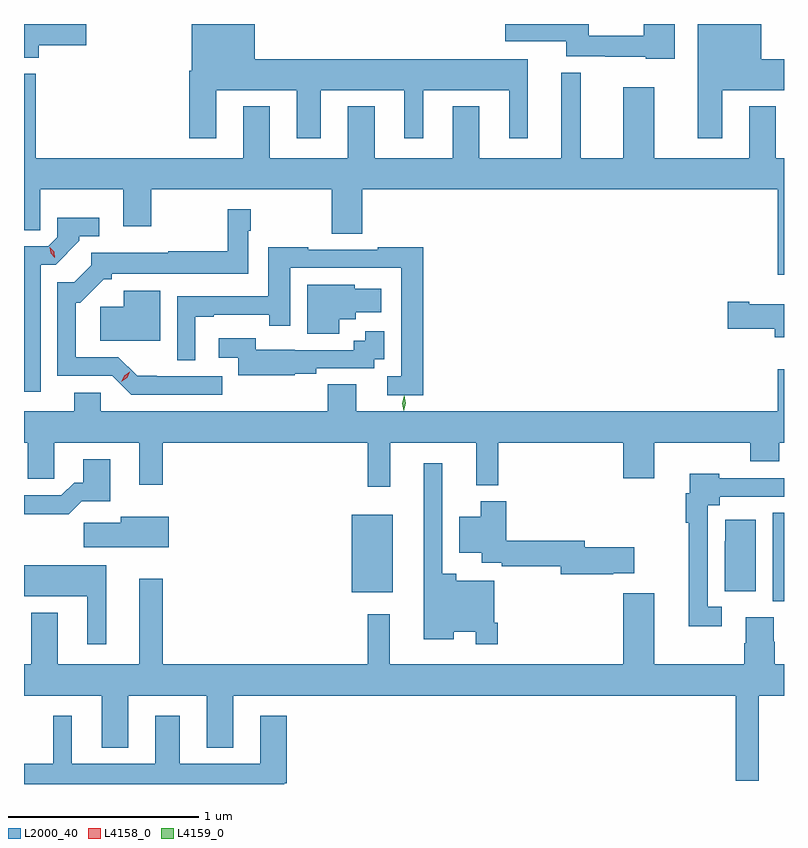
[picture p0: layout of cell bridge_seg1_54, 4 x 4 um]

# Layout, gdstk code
import gdstk
lib = gdstk.Library(unit=1e-6, precision=1e-09)
def R(c, l, rs):  # rectangles x0, y0, x1, y1
    for r in rs: c.add(gdstk.rectangle(r[:2], r[2:], *l))
def P(c, l, *ps):  # polygons
    for p in ps: c.add(gdstk.Polygon(p, *l))
L2000_40 = (2000, 40)
L4158_0 = (4158, 0)
L4159_0 = (4159, 0)

bridge_seg1_54 = lib.new_cell('bridge_seg1_54')
R(bridge_seg1_54, L2000_40, [(405.554,570.877,405.614,571.343), (403.34,570.923,403.555,571.333)])
P(bridge_seg1_54, L2000_40, [(401.692,573.803),(401.941,573.803),(401.941,573.915),(401.614,573.915),(401.614,573.737),(401.692,573.737)],
  [(405.04,573.915),(404.875,573.915),(404.875,573.853),(404.586,573.853),(404.586,573.915),(404.148,573.915),(404.148,573.824),(404.468,573.824),(404.468,573.744),(404.674,573.744),(404.674,573.743),(404.886,573.743),(404.886,573.731),(405.04,573.731)],
  [(405.289,573.566),(405.614,573.566),(405.614,573.73),(405.493,573.73),(405.493,573.915),(405.161,573.915),(405.161,573.315),(405.289,573.315)],
  [(402.625,573.566),(403.049,573.566),(403.049,573.315),(403.177,573.315),(403.177,573.566),(403.616,573.566),(403.616,573.315),(403.714,573.315),(403.714,573.566),(404.168,573.566),(404.168,573.315),(404.266,573.315),(404.266,573.73),(402.829,573.73),(402.829,573.915),(402.497,573.915),(402.497,573.67),(402.485,573.67),(402.485,573.315),(402.625,573.315)],
  [(403.319,573.481),(403.319,573.208),(402.907,573.208),(402.907,573.481),(402.767,573.481),(402.767,573.208),(401.677,573.208),(401.677,573.652),(401.614,573.652),(401.614,572.83),(401.7,572.83),(401.7,573.044),(402.137,573.044),(402.137,572.85),(402.285,572.85),(402.285,573.044),(403.234,573.044),(403.234,572.812),(403.394,572.812),(403.394,573.044),(405.582,573.044),(405.582,572.595),(405.614,572.595),(405.614,573.208),(405.571,573.208),(405.571,573.481),(405.431,573.481),(405.431,573.208),(404.932,573.208),(404.932,573.583),(404.768,573.583),(404.768,573.208),(404.545,573.208),(404.545,573.545),(404.543,573.545),(404.543,573.658),(404.441,573.658),(404.441,573.208),(404.011,573.208),(404.011,573.481),(403.871,573.481),(403.871,573.208),(403.459,573.208),(403.459,573.481)],
  [(402.657,572.061),(402.313,572.061),(402.313,572.063),(402.209,572.063),(402.111,572.16),(401.886,572.16),(401.886,572.448),(401.909,572.448),(402.033,572.571),(402.076,572.571),(402.076,572.6),(402.795,572.6),(402.795,572.828),(402.808,572.828),(402.808,572.941),(402.687,572.941),(402.687,572.718),(402.373,572.718),(402.373,572.71),(401.969,572.71),(401.969,572.646),(401.879,572.556),(401.79,572.556),(401.79,572.064),(402.079,572.064),(402.178,571.965),(402.657,571.965)],
  [(401.701,572.649),(401.782,572.649),(401.906,572.773),(401.906,572.799),(402.01,572.799),(402.01,572.896),(401.79,572.896),(401.79,572.793),(401.742,572.745),(401.614,572.745),(401.614,571.98),(401.701,571.98)],
  [(403.715,572.74),(403.477,572.74),(403.477,572.727),(403.111,572.727),(403.111,572.74),(402.899,572.74),(402.899,572.481),(402.42,572.481),(402.42,572.146),(402.516,572.146),(402.516,572.373),(402.613,572.373),(402.613,572.385),(402.906,572.385),(402.906,572.328),(403.015,572.328),(403.015,572.631),(403.599,572.631),(403.599,572.061),(403.527,572.061),(403.527,571.961),(403.715,571.961)],
  [(403.273,572.361),(403.36,572.361),(403.36,572.399),(403.495,572.399),(403.495,572.521),(403.356,572.521),(403.356,572.542),(403.106,572.542),(403.106,572.284),(403.273,572.284)],
  [(402.331,572.512),(402.14,572.512),(402.14,572.427),(402.015,572.427),(402.015,572.249),(402.331,572.249)],
  [(405.614,572.44),(405.43,572.44),(405.43,572.453),(405.318,572.453),(405.318,572.311),(405.566,572.311),(405.566,572.267),(405.614,572.267)],
  [(403.038,572.073),(403.152,572.073),(403.152,572.103),(403.458,572.103),(403.458,572.151),(403.51,572.151),(403.51,572.297),(403.409,572.297),(403.409,572.247),(403.35,572.247),(403.35,572.199),(403.038,572.199),(403.038,572.2),(402.834,572.2),(402.834,572.26),(402.639,572.26),(402.639,572.159),(402.741,572.159),(402.741,572.066),(403.038,572.066)],
  [(402.221,571.491),(402.343,571.491),(402.343,571.712),(403.423,571.712),(403.423,571.479),(403.541,571.479),(403.541,571.712),(403.994,571.712),(403.994,571.487),(404.111,571.487),(404.111,571.712),(404.768,571.712),(404.768,571.524),(404.932,571.524),(404.932,571.712),(405.437,571.712),(405.437,571.613),(405.589,571.613),(405.589,571.712),(405.614,571.712),(405.614,572.098),(405.582,572.098),(405.582,571.876),(403.363,571.876),(403.363,572.018),(403.212,572.018),(403.212,571.876),(402.018,571.876),(402.018,571.974),(401.879,571.974),(401.879,571.876),(401.614,571.876),(401.614,571.712),(401.633,571.712),(401.633,571.522),(401.772,571.522),(401.772,571.712),(402.221,571.712)],
  [(401.918,571.403),(402.067,571.403),(402.067,571.624),(401.927,571.624),(401.927,571.501),(401.878,571.501),(401.811,571.434),(401.614,571.434),(401.614,571.334),(401.849,571.334)],
  [(404.108,570.763),(404.088,570.763),(404.088,570.985),(403.889,570.985),(403.889,571.021),(403.815,571.021),(403.815,571.603),(403.718,571.603),(403.718,570.677),(403.876,570.677),(403.876,570.716),(403.992,570.716),(403.992,570.651),(404.108,570.651)],
  [(405.286,570.849),(405.213,570.849),(405.213,571.381),(405.275,571.381),(405.275,571.428),(405.614,571.428),(405.614,571.524),(405.273,571.524),(405.273,571.549),(405.117,571.549),(405.117,571.445),(405.097,571.445),(405.097,571.289),(405.112,571.289),(405.112,570.744),(405.286,570.744)],
  [(404.714,571.025),(404.827,571.025),(404.827,571.16),(404.566,571.16),(404.566,571.196),(404.153,571.196),(404.153,571.402),(404.018,571.402),(404.018,571.321),(403.904,571.321),(403.904,571.133),(404.024,571.133),(404.024,571.08),(404.128,571.08),(404.128,571.06),(404.438,571.06),(404.438,571.018),(404.714,571.018)],
  [(402.376,571.321),(402.122,571.321),(402.122,571.289),(401.928,571.289),(401.928,571.16),(402.376,571.16)],
  [(405.466,571.306),(405.304,571.306),(405.304,571.193),(405.302,571.193),(405.302,570.93),(405.466,570.93)],
  [(402.046,571.066),(401.614,571.066),(401.614,570.902),(401.948,570.902),(401.948,570.651),(402.046,570.651)],
  [(405.561,570.663),(405.561,570.792),(405.413,570.792),(405.413,570.656),(405.406,570.656),(405.406,570.544),(404.932,570.544),(404.932,570.919),(404.768,570.919),(404.768,570.544),(403.54,570.544),(403.54,570.808),(403.423,570.808),(403.423,570.544),(402.343,570.544),(402.343,570.994),(402.221,570.994),(402.221,570.544),(401.791,570.544),(401.791,570.817),(401.651,570.817),(401.651,570.544),(401.614,570.544),(401.614,570.38),(402.023,570.38),(402.023,570.107),(402.163,570.107),(402.163,570.38),(402.575,570.38),(402.575,570.107),(402.715,570.107),(402.715,570.38),(405.36,570.38),(405.36,569.931),(405.481,569.931),(405.481,570.38),(405.614,570.38),(405.614,570.544),(405.566,570.544),(405.566,570.663)],
  [(402.985,569.918),(402.998,569.918),(402.998,570.274),(402.857,570.274),(402.857,570.022),(402.433,570.022),(402.433,570.274),(402.305,570.274),(402.305,570.022),(401.866,570.022),(401.866,570.274),(401.768,570.274),(401.768,570.022),(401.614,570.022),(401.614,569.915),(402.985,569.915)])
P(bridge_seg1_54, L4158_0, [(401.776,572.685),(401.776,572.685),(401.754,572.708),(401.75,572.739),(401.75,572.739),(401.75,572.739),(401.772,572.717),(401.776,572.685)],
  [(402.127,572.032),(402.127,572.033),(402.142,572.065),(402.171,572.084),(402.171,572.084),(402.171,572.084),(402.157,572.052),(402.127,572.032)])
P(bridge_seg1_54, L4159_0, [(403.612,571.879),(403.604,571.92),(403.614,571.961),(403.614,571.961),(403.615,571.961),(403.624,571.92),(403.613,571.879),(403.613,571.879)])

lib.write_gds('bridge_seg1_54.gds')
